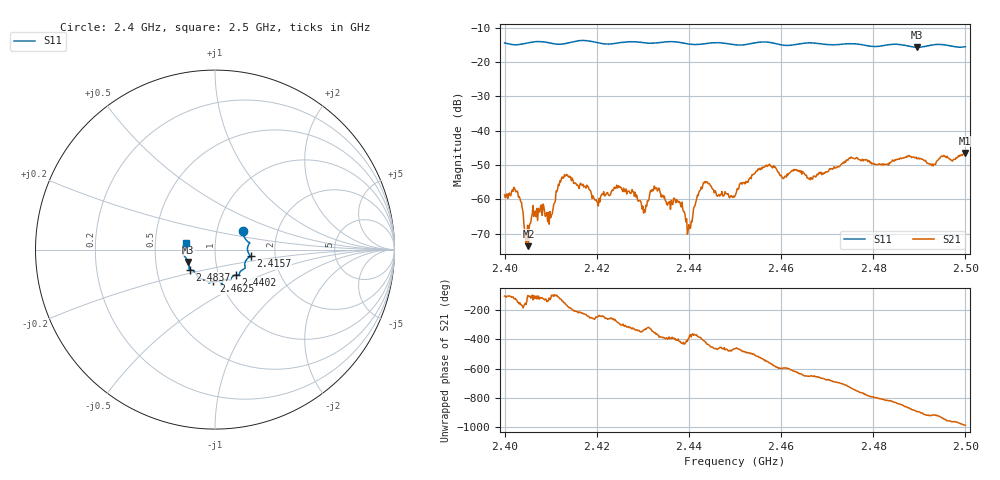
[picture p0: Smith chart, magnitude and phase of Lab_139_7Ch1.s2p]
# Hz S RI R 50
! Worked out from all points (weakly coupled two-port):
!   601 points, 2.4 GHz to 2.5 GHz, reference 50 ohm
!   highest |S21| = -46.50 dB at 2.4998 GHz (marker M1); lowest = -73.6 dB at 2.4052 GHz (marker M2)
!   lowest |S11| = -15.7 dB at 2.4895 GHz (marker M3), VSWR 1.39, Z = 36.8 - j5.18 ohm
!   |S11| at or under -10 dB: start of sweep to end of sweep
!   S12 and S22 are empty: the file has one direction only
!   S11 on the Smith chart (normalised r, x): 2.4 GHz: 1.34, +0.29; 2.4157 GHz: 1.49, -0.11; 2.4402 GHz: 1.20, -0.35; 2.4625 GHz: 0.92, -0.34; 2.4837 GHz: 0.74, -0.17; 2.5 GHz: 0.72, +0.05
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2.4e9  0.1569 0.1055  -0.000273 -0.00114  0 0  0 0
2.4025e9  0.1641 0.0679  -0.000792 -0.00101  0 0  0 0
2.405167e9  0.1854 0.0422  -6.12e-05 -0.000199  0 0  0 0
2.4065e9  0.1927 0.0392  -0.000324 -0.000546  0 0  0 0
2.409833e9  0.1868 0.027  -0.000411 -0.000522  0 0  0 0
2.412833e9  0.1827 -0.00971  -0.00176 -0.00108  0 0  0 0
2.415667e9  0.1987 -0.0363  -0.00139 0.000812  0 0  0 0
2.416667e9  0.2014 -0.0396  -0.00123 0.00107  0 0  0 0
2.430333e9  0.1528 -0.1128  0.000629 0.000308  0 0  0 0
2.433333e9  0.1359 -0.1333  0.00137 -0.000271  0 0  0 0
2.440167e9  0.1144 -0.1408  0.000374 -7.03e-05  0 0  0 0
2.4435e9  0.0902 -0.1613  0.000991 -0.00152  0 0  0 0
2.45e9  0.0641 -0.1659  -0.000256 -0.00109  0 0  0 0
2.457e9  0.0382 -0.1906  -0.00295 0.00058  0 0  0 0
2.4625e9  -0.00982 -0.1765  -0.000717 0.00256  0 0  0 0
2.466667e9  -0.0331 -0.1863  0.000677 0.00186  0 0  0 0
2.475167e9  -0.0901 -0.1607  0.00402 -0.000842  0 0  0 0
2.483333e9  -0.1383 -0.1122  -0.000542 -0.00308  0 0  0 0
2.483667e9  -0.1401 -0.1118  -0.000539 -0.00333  0 0  0 0
2.4895e9  -0.1484 -0.0685  -0.00387 -0.000414  0 0  0 0
2.499833e9  -0.1625 0.0336  -0.000409 0.00471  0 0  0 0
2.5e9  -0.1629 0.0363  -0.000129 0.00465  0 0  0 0
